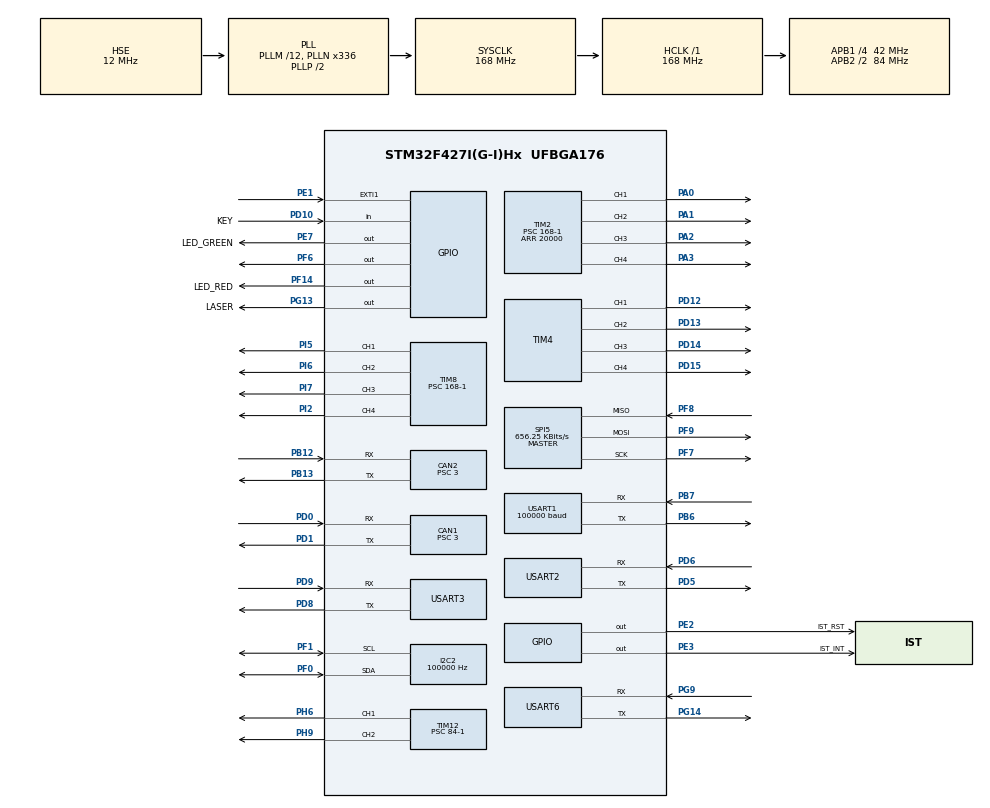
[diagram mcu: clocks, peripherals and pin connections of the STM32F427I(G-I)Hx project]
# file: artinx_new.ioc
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CAN1.BS1=CAN_BS1_9TQ
CAN1.BS2=CAN_BS2_4TQ
CAN1.CalculateTimeBit=1000
CAN1.CalculateTimeQuantum=71.42857142857143
CAN1.Mode=CAN_MODE_LOOPBACK
CAN1.Prescaler=3
CAN1.TXFP=ENABLE
CAN2.BS1=CAN_BS1_9TQ
CAN2.BS2=CAN_BS2_4TQ
CAN2.CalculateTimeBit=1000
CAN2.CalculateTimeQuantum=71.42857142857143
CAN2.Mode=CAN_MODE_LOOPBACK
CAN2.Prescaler=3
CAN2.TXFP=ENABLE
Dma.Request0=USART1_RX
Dma.USART1_RX.0.Direction=DMA_PERIPH_TO_MEMORY
Dma.USART1_RX.0.FIFOMode=DMA_FIFOMODE_DISABLE
Dma.USART1_RX.0.Instance=DMA2_Stream2
Dma.USART1_RX.0.MemDataAlignment=DMA_MDATAALIGN_BYTE
Dma.USART1_RX.0.MemInc=DMA_MINC_ENABLE
Dma.USART1_RX.0.Mode=DMA_CIRCULAR
Dma.USART1_RX.0.PeriphDataAlignment=DMA_PDATAALIGN_BYTE
Dma.USART1_RX.0.PeriphInc=DMA_PINC_DISABLE
Dma.USART1_RX.0.Priority=DMA_PRIORITY_LOW
I2C2.ClockSpeed=100000
I2C2.I2C_Mode=I2C_Standard
Mcu.Family=STM32F4
Mcu.Name=STM32F427I(G-I)Hx
Mcu.Package=UFBGA176
NVIC.CAN1_RX0_IRQn=true\:1\:1\:true\:false\:true
NVIC.CAN1_TX_IRQn=true\:1\:1\:true\:false\:true
NVIC.CAN2_RX0_IRQn=true\:1\:1\:true\:false\:true
NVIC.CAN2_TX_IRQn=true\:1\:1\:true\:false\:true
NVIC.DMA2_Stream2_IRQn=true\:0\:1\:true\:false\:true
NVIC.EXTI1_IRQn=true\:0\:2\:false\:false\:true
NVIC.PriorityGroup=NVIC_PRIORITYGROUP_2
NVIC.TIM3_IRQn=true\:0\:0\:false\:false\:true
NVIC.TIM6_DAC_IRQn=true\:0\:1\:false\:false\:true
NVIC.USART1_IRQn=true\:0\:0\:false\:false\:true
NVIC.USART2_IRQn=true\:1\:0\:true\:false\:true
NVIC.USART3_IRQn=true\:1\:0\:true\:false\:true
NVIC.USART6_IRQn=true\:1\:0\:true\:false\:true
PA0/WKUP.Signal=S_TIM2_CH1_ETR
PA1.Signal=S_TIM2_CH2
PA2.Signal=S_TIM2_CH3
PA3.Signal=S_TIM2_CH4
PB12.Mode=Slave
PB12.Signal=CAN2_RX
PB13.Mode=Slave
PB13.Signal=CAN2_TX
PB6.Mode=Multiprocessor_communication
PB6.Signal=USART1_TX
PB7.Mode=Multiprocessor_communication
PB7.Signal=USART1_RX
PD0.Mode=Master
PD0.Signal=CAN1_RX
PD1.Mode=Master
PD1.Signal=CAN1_TX
PD10.GPIO_Label=KEY
PD10.Signal=GPIO_Input
PD12.GPIO_PuPd=GPIO_PULLUP
PD12.GPIO_Speed=GPIO_SPEED_FREQ_HIGH
PD12.Signal=S_TIM4_CH1
PD13.GPIO_PuPd=GPIO_PULLUP
PD13.GPIO_Speed=GPIO_SPEED_FREQ_HIGH
PD13.Signal=S_TIM4_CH2
PD14.GPIO_PuPd=GPIO_PULLUP
PD14.GPIO_Speed=GPIO_SPEED_FREQ_HIGH
PD14.Signal=S_TIM4_CH3
PD15.GPIO_PuPd=GPIO_PULLUP
PD15.GPIO_Speed=GPIO_SPEED_FREQ_HIGH
PD15.Signal=S_TIM4_CH4
PD5.Mode=Multiprocessor_communication
PD5.Signal=USART2_TX
PD6.Mode=Multiprocessor_communication
PD6.Signal=USART2_RX
PD8.Mode=Multiprocessor_communication
PD8.Signal=USART3_TX
PD9.Mode=Multiprocessor_communication
PD9.Signal=USART3_RX
PE1.Signal=GPXTI1
PE2.GPIO_Label=IST_RST
PE2.GPIO_Speed=GPIO_SPEED_FREQ_VERY_HIGH
PE2.Signal=GPIO_Output
PE3.GPIO_Label=IST_INT
PE3.GPIO_Speed=GPIO_SPEED_FREQ_VERY_HIGH
PE3.Signal=GPIO_Output
PE7.GPIO_Label=LED_GREEN
PE7.GPIO_Speed=GPIO_SPEED_FREQ_LOW
PE7.Signal=GPIO_Output
PF0.GPIO_Speed=GPIO_SPEED_FREQ_LOW
PF0.Mode=I2C
PF0.Signal=I2C2_SDA
PF1.GPIO_Speed=GPIO_SPEED_FREQ_LOW
PF1.Mode=I2C
PF1.Signal=I2C2_SCL
PF14.GPIO_Label=LED_RED
PF14.GPIO_Speed=GPIO_SPEED_FREQ_LOW
PF14.Signal=GPIO_Output
PF6.Signal=GPIO_Output
PF7.Mode=Full_Duplex_Master
PF7.Signal=SPI5_SCK
PF8.Mode=Full_Duplex_Master
PF8.Signal=SPI5_MISO
PF9.Mode=Full_Duplex_Master
PF9.Signal=SPI5_MOSI
PG13.GPIO_Label=LASER
PG13.Signal=GPIO_Output
PG14.Mode=Multiprocessor_communication
PG14.Signal=USART6_TX
PG9.Mode=Multiprocessor_communication
PG9.Signal=USART6_RX
PH0/OSC_IN.Mode=HSE-External-Oscillator
PH0/OSC_IN.Signal=RCC_OSC_IN
PH1/OSC_OUT.Mode=HSE-External-Oscillator
PH1/OSC_OUT.Signal=RCC_OSC_OUT
PH6.Signal=S_TIM12_CH1
PH9.Signal=S_TIM12_CH2
PI2.Signal=S_TIM8_CH4
PI5.Signal=S_TIM8_CH1
PI6.Signal=S_TIM8_CH2
PI7.Signal=S_TIM8_CH3
ProjectManager.HeapSize=0x200
ProjectManager.StackSize=0x400
ProjectManager.TargetToolchain=MDK-ARM V5
RCC.48MHZClocksFreq_Value=84000000
RCC.AHBFreq_Value=168000000
RCC.APB1CLKDivider=RCC_HCLK_DIV4
RCC.APB1Freq_Value=42000000
RCC.APB1TimFreq_Value=84000000
RCC.APB2CLKDivider=RCC_HCLK_DIV2
RCC.APB2Freq_Value=84000000
RCC.APB2TimFreq_Value=168000000
RCC.CortexFreq_Value=168000000
RCC.HCLKFreq_Value=168000000
RCC.HSE_VALUE=12000000
RCC.HSI_VALUE=16000000
RCC.LSE_VALUE=32768
RCC.PLLM=12
RCC.PLLN=336
RCC.PLLSourceVirtual=RCC_PLLSOURCE_HSE
RCC.SYSCLKFreq_VALUE=168000000
RCC.SYSCLKSource=RCC_SYSCLKSOURCE_PLLCLK
RCC.VCOOutputFreq_Value=336000000
SH.S_TIM12_CH1.0=TIM12_CH1,PWM Generation1 CH1
SH.S_TIM12_CH2.0=TIM12_CH2,PWM Generation2 CH2
SH.S_TIM2_CH1_ETR.0=TIM2_CH1,PWM Generation1 CH1
SH.S_TIM2_CH2.0=TIM2_CH2,PWM Generation2 CH2
SH.S_TIM2_CH3.0=TIM2_CH3,PWM Generation3 CH3
SH.S_TIM2_CH4.0=TIM2_CH4,PWM Generation4 CH4
SH.S_TIM4_CH1.0=TIM4_CH1,PWM Generation1 CH1
SH.S_TIM4_CH2.0=TIM4_CH2,PWM Generation2 CH2
SH.S_TIM4_CH3.0=TIM4_CH3,PWM Generation3 CH3
SH.S_TIM4_CH4.0=TIM4_CH4,PWM Generation4 CH4
SH.S_TIM8_CH1.0=TIM8_CH1,PWM Generation1 CH1
SH.S_TIM8_CH2.0=TIM8_CH2,PWM Generation2 CH2
SH.S_TIM8_CH3.0=TIM8_CH3,PWM Generation3 CH3
SH.S_TIM8_CH4.0=TIM8_CH4,PWM Generation4 CH4
SPI5.BaudRatePrescaler=SPI_BAUDRATEPRESCALER_128
SPI5.CalculateBaudRate=656.25 KBits/s
SPI5.Mode=SPI_MODE_MASTER
TIM12.Channel-PWM\ Generation2\ CH2=TIM_CHANNEL_2
TIM12.Period=2500
TIM12.Prescaler=84-1
TIM12.Pulse-PWM\ Generation1\ CH1=1000
TIM2.Channel-PWM\ Generation2\ CH2=TIM_CHANNEL_2
TIM2.Channel-PWM\ Generation3\ CH3=TIM_CHANNEL_3
TIM2.Channel-PWM\ Generation4\ CH4=TIM_CHANNEL_4
TIM2.Period=20000
TIM2.Prescaler=168-1
TIM3.Period=10000-1
TIM3.Prescaler=8400-1
TIM4.Channel-PWM\ Generation2\ CH2=TIM_CHANNEL_2
TIM4.Channel-PWM\ Generation3\ CH3=TIM_CHANNEL_3
TIM4.Channel-PWM\ Generation4\ CH4=TIM_CHANNEL_4
TIM5.Period=10000-1
TIM5.Prescaler=8400-1
TIM6.Period=1000
TIM6.Prescaler=84-1
TIM8.Channel-PWM\ Generation2\ CH2=TIM_CHANNEL_2
TIM8.Channel-PWM\ Generation3\ CH3=TIM_CHANNEL_3
TIM8.Channel-PWM\ Generation4\ CH4=TIM_CHANNEL_4
TIM8.Prescaler=168-1
USART1.BaudRate=100000
USART1.Mode=MODE_RX
USART1.Parity=PARITY_EVEN
VP_TIM12_VS_ClockSourceINT.Mode=Internal
VP_TIM2_VS_ClockSourceINT.Mode=Internal
VP_TIM3_VS_ClockSourceINT.Mode=Internal
VP_TIM4_VS_ClockSourceINT.Mode=Internal
VP_TIM5_VS_ClockSourceINT.Mode=Internal
VP_TIM6_VS_ClockSourceINT.Mode=Enable_Timer
VP_TIM8_VS_ClockSourceINT.Mode=Internal
board=artinx_new

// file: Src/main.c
/**
  ******************************************************************************
  * File Name          : main.c
  * Description        : Main program body
  ******************************************************************************
  *
  * COPYRIGHT(c) 2017 STMicroelectronics
  *
  * Redistribution and use in source and binary forms, with or without modification,
  * are permitted provided that the following conditions are met:
  *   1. Redistributions of source code must retain the above copyright notice,
  *      this list of conditions and the following disclaimer.
  *   2. Redistributions in binary form must reproduce the above copyright notice,
  *      this list of conditions and the following disclaimer in the documentation
  *      and/or other materials provided with the distribution.
  *   3. Neither the name of STMicroelectronics nor the names of its contributors
  *      may be used to endorse or promote products derived from this software
  *      without specific prior written permission.
  *
  * THIS SOFTWARE IS PROVIDED BY THE COPYRIGHT HOLDERS AND CONTRIBUTORS "AS IS"
  * AND ANY EXPRESS OR IMPLIED WARRANTIES, INCLUDING, BUT NOT LIMITED TO, THE
  * IMPLIED WARRANTIES OF MERCHANTABILITY AND FITNESS FOR A PARTICULAR PURPOSE ARE
  * DISCLAIMED. IN NO EVENT SHALL THE COPYRIGHT HOLDER OR CONTRIBUTORS BE LIABLE
  * FOR ANY DIRECT, INDIRECT, INCIDENTAL, SPECIAL, EXEMPLARY, OR CONSEQUENTIAL
  * DAMAGES (INCLUDING, BUT NOT LIMITED TO, PROCUREMENT OF SUBSTITUTE GOODS OR
  * SERVICES; LOSS OF USE, DATA, OR PROFITS; OR BUSINESS INTERRUPTION) HOWEVER
  * CAUSED AND ON ANY THEORY OF LIABILITY, WHETHER IN CONTRACT, STRICT LIABILITY,
  * OR TORT (INCLUDING NEGLIGENCE OR OTHERWISE) ARISING IN ANY WAY OUT OF THE USE
  * OF THIS SOFTWARE, EVEN IF ADVISED OF THE POSSIBILITY OF SUCH DAMAGE.
  *
  ******************************************************************************
  */
#include "main.h"
#include "stm32f4xx_hal.h"
#include "can.h"
#include "dma.h"
#include "i2c.h"
#include "spi.h"
#include "tim.h"
#include "usart.h"
#include "gpio.h"

/* USER CODE BEGIN Includes */
#include "stdio.h"
#include "delay.h"
#include "led.h"
#include "laser.h"
#include "dbus.h"
#include "sdbus.h"
#include "pid_algorithm.h"
#include "chassis_control.h"
#include "gimbal_control.h"
#include "test_imu.h"
#include "shoot_control.h"
#include "encoder.h"
#include "initialization.h"
#include "i2c_mpu6050.h"
#include "test_usart.h"
/* USER CODE END Includes */

/* USER CODE BEGIN PV */
/* Private variables ---------------------------------------------------------*/

/* USER CODE END PV */

void SystemClock_Config(void);
void Error_Handler(void);

/* USER CODE BEGIN PFP */
/* Private function prototypes -----------------------------------------------*/

/* USER CODE END PFP */

/* USER CODE BEGIN 0 */
//重新定向printf()函数对应的串口
#ifdef __GNUC__
#define PUTCHAR_PROTOTYPE int __io_putchar(int ch)
#else
#define PUTCHAR_PROTOTYPE int fputc(int ch, FILE *f)
#endif
PUTCHAR_PROTOTYPE
{
HAL_UART_Transmit(&huart6 , (uint8_t *)&ch, 1, 0xFFFF);
return ch;
}

/* USER CODE END 0 */

int main(void)
{

  /* USER CODE BEGIN 1 */
  //  uint8_t i=0;
  /* USER CODE END 1 */

  /* MCU Configuration----------------------------------------------------------*/

  /* Reset of all peripherals, Initializes the Flash interface and the Systick. */
  HAL_Init();

  /* Configure the system clock */
  SystemClock_Config();

  /* Initialize all configured peripherals */
  MX_GPIO_Init();
  MX_DMA_Init();
  MX_CAN1_Init();
  MX_CAN2_Init();
  MX_SPI5_Init();
  MX_TIM2_Init();
  MX_TIM3_Init();
  MX_TIM4_Init();
  MX_TIM5_Init();
  MX_TIM6_Init();
  MX_TIM8_Init();
  MX_TIM12_Init();
  MX_USART1_UART_Init();
  MX_USART2_UART_Init();
  MX_USART3_UART_Init();
  MX_USART6_UART_Init();
  MX_I2C2_Init();

  /* USER CODE BEGIN 2 */
  Initialization();
	HAL_UART_Receive_DMA(&huart1,dbus_buf,DBUS_BUF_SIZE);
	HAL_UART_Receive_IT(&huart3, uart3_rx_buff, 1);
  HAL_UART_Receive_IT(&huart6, uart6_rx_buff, 1);
  /* USER CODE END 2 */

  /* Infinite loop */
  while (1)
  {

  /* USER CODE BEGIN 3 */
	  //IMU_Get_Data();
//		if(HAL_UART_Receive_DMA(&huart1,dbus_buf,DBUS_BUF_SIZE)!=HAL_OK){
//		printf("error");
//		}

	 //delay_ms(1000);
	 //LED_GREEN_ON();
	 //delay_ms(5000);
	 //LED_GREEN_OFF();
	 HAL_UART_Receive_DMA(&huart1,dbus_buf,DBUS_BUF_SIZE);
	 DBUS_Dec(&dbus,dbus_buf);
   delay_ms(500);
   printf("hello\r\n");
	 //printf("%f\r\n",mpu_data.real_roll);
   //printf("%d\r\n",imu_data.ax);
	 printf("%d\r\n",dbus.rc.ch0);
	 printf("%d\r\n",dbus.rc.ch1);
  }
  /* USER CODE END 3 */

}

/** System Clock Configuration
*/
void SystemClock_Config(void)
{

  RCC_OscInitTypeDef RCC_OscInitStruct;
  RCC_ClkInitTypeDef RCC_ClkInitStruct;

    /**Configure the main internal regulator output voltage
    */
  __HAL_RCC_PWR_CLK_ENABLE();

  __HAL_PWR_VOLTAGESCALING_CONFIG(PWR_REGULATOR_VOLTAGE_SCALE1);

    /**Initializes the CPU, AHB and APB busses clocks
    */
  RCC_OscInitStruct.OscillatorType = RCC_OSCILLATORTYPE_HSE;
  RCC_OscInitStruct.HSEState = RCC_HSE_ON;
  RCC_OscInitStruct.PLL.PLLState = RCC_PLL_ON;
  RCC_OscInitStruct.PLL.PLLSource = RCC_PLLSOURCE_HSE;
  RCC_OscInitStruct.PLL.PLLM = 12;
  RCC_OscInitStruct.PLL.PLLN = 336;
  RCC_OscInitStruct.PLL.PLLP = RCC_PLLP_DIV2;
  RCC_OscInitStruct.PLL.PLLQ = 4;
  if (HAL_RCC_OscConfig(&RCC_OscInitStruct) != HAL_OK)
  {
    Error_Handler();
  }

    /**Initializes the CPU, AHB and APB busses clocks
    */
  RCC_ClkInitStruct.ClockType = RCC_CLOCKTYPE_HCLK|RCC_CLOCKTYPE_SYSCLK
                              |RCC_CLOCKTYPE_PCLK1|RCC_CLOCKTYPE_PCLK2;
  RCC_ClkInitStruct.SYSCLKSource = RCC_SYSCLKSOURCE_PLLCLK;
  RCC_ClkInitStruct.AHBCLKDivider = RCC_SYSCLK_DIV1;
  RCC_ClkInitStruct.APB1CLKDivider = RCC_HCLK_DIV4;
  RCC_ClkInitStruct.APB2CLKDivider = RCC_HCLK_DIV2;

  if (HAL_RCC_ClockConfig(&RCC_ClkInitStruct, FLASH_LATENCY_5) != HAL_OK)
  {
    Error_Handler();
  }

    /**Configure the Systick interrupt time
    */
  HAL_SYSTICK_Config(HAL_RCC_GetHCLKFreq()/1000);

    /**Configure the Systick
    */
  HAL_SYSTICK_CLKSourceConfig(SYSTICK_CLKSOURCE_HCLK);

  /* SysTick_IRQn interrupt configuration */
  HAL_NVIC_SetPriority(SysTick_IRQn, 0, 0);
}

void Error_Handler(void)
{
  while(1)
  {
  }
}

/************************ (C) COPYRIGHT STMicroelectronics *****END OF FILE****/
